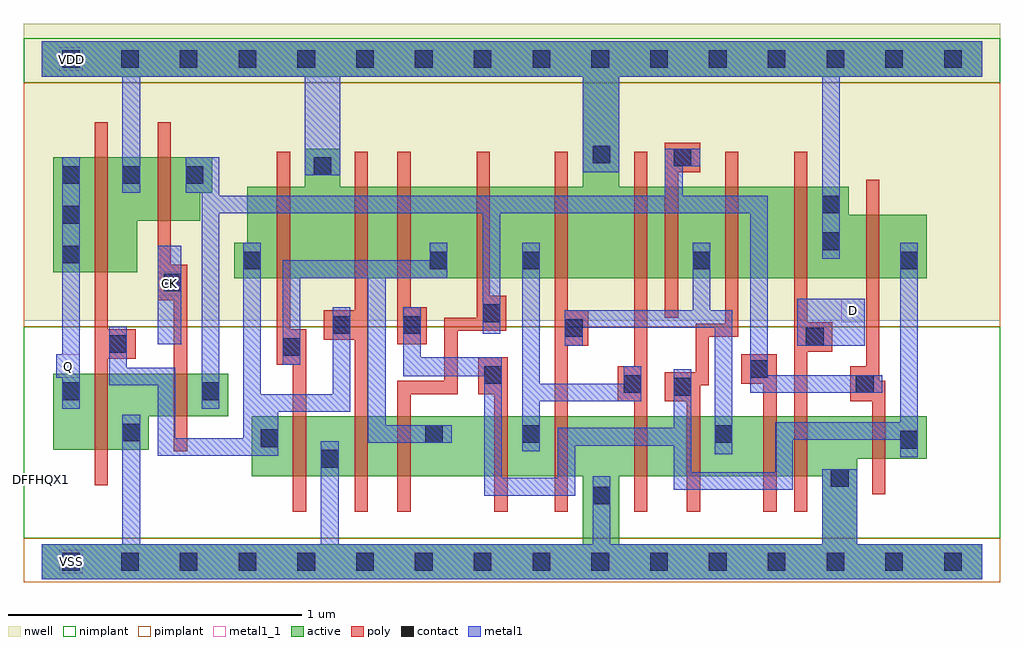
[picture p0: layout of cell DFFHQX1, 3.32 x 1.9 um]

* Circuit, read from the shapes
.subckt DFFHQX1 CK D Q VDD VSS
M1 VSS n1 Q VSS nfet w=0.26u l=0.045u
M2 n2 CK VSS VSS nfet w=0.145u l=0.045u
M3 VSS n3 n1 VSS nfet w=0.205u l=0.045u
M4 n4 n1 VSS VSS nfet w=0.205u l=0.045u
M5 n3 n2 n4 VSS nfet w=0.205u l=0.045u
M6 n5 n6 n3 VSS nfet w=0.205u l=0.045u
M7 VSS n7 n5 VSS nfet w=0.205u l=0.045u
M8 n8 n5 VSS VSS nfet w=0.205u l=0.045u
M9 n7 n6 n8 VSS nfet w=0.205u l=0.045u
M10 n9 n2 n7 VSS nfet w=0.205u l=0.045u
M11 VSS D n9 VSS nfet w=0.205u l=0.045u
M12 n6 n2 VSS VSS nfet w=0.145u l=0.045u
M13 VDD n1 Q VDD pfet w=0.39u l=0.045u
M14 n2 CK VDD VDD pfet w=0.215u l=0.045u
M15 VDD n3 n1 VDD pfet w=0.31u l=0.045u
M16 n10 n1 VDD VDD pfet w=0.31u l=0.045u
M17 n3 n6 n10 VDD pfet w=0.31u l=0.045u
M18 n5 n2 n3 VDD pfet w=0.31u l=0.045u
M19 VDD n7 n5 VDD pfet w=0.31u l=0.045u
M20 n11 n5 VDD VDD pfet w=0.31u l=0.045u
M21 n7 n2 n11 VDD pfet w=0.31u l=0.045u
M22 n12 n6 n7 VDD pfet w=0.31u l=0.045u
M23 VDD D n12 VDD pfet w=0.31u l=0.045u
M24 n6 n2 VDD VDD pfet w=0.215u l=0.045u
.ends

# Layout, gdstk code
import gdstk
lib = gdstk.Library(unit=1e-6, precision=5e-10)
def R(c, l, rs):  # rectangles x0, y0, x1, y1
    for r in rs: c.add(gdstk.rectangle(r[:2], r[2:], *l))
def A(c, l, x, y, w, h, nx, ny, dx, dy):  # array of equal rectangles
    R(c, l, [(x+i*dx, y+j*dy, x+i*dx+w, y+j*dy+h) for i in range(nx) for j in range(ny)])
def P(c, l, *ps):  # polygons
    for p in ps: c.add(gdstk.Polygon(p, *l))
active = (1, 0)
nwell = (2, 0)
poly = (3, 0)
nimplant = (4, 0)
pimplant = (5, 0)
contact = (6, 0)
metal1 = (7, 0)
metal1_1 = (7, 1)

dffhqx1 = lib.new_cell('DFFHQX1')
R(dffhqx1, active, [(0,-0.06,3.2,0.06), (0,1.65,3.2,1.77)])
P(dffhqx1, active, [(3.01,1.18),(2.745,1.18),(2.745,1.275),(1.965,1.275),(1.965,1.65),(1.84,1.65),(1.84,1.275),(1.015,1.275),(1.015,1.405),(0.895,1.405),(0.895,1.275),(0.7,1.275),(0.7,1.085),(0.655,1.085),(0.655,0.965),(3.01,0.965)],
  [(0.04,1.375),(0.58,1.375),(0.58,1.255),(0.54,1.255),(0.54,1.16),(0.325,1.16),(0.325,0.985),(0.04,0.985)],
  [(0.04,0.64),(0.635,0.64),(0.635,0.495),(0.365,0.495),(0.365,0.38),(0.04,0.38)],
  [(3.01,0.495),(0.715,0.495),(0.715,0.29),(1.84,0.29),(1.84,0.06),(1.965,0.06),(1.965,0.29),(2.655,0.29),(2.655,0.06),(2.775,0.06),(2.775,0.35),(3.01,0.35)])
R(dffhqx1, nwell, [(-0.06,0.82,3.26,1.83)])
P(dffhqx1, poly, [(0.18,1.495),(0.225,1.495),(0.225,0.79),(0.32,0.79),(0.32,0.69),(0.225,0.69),(0.225,0.26),(0.18,0.26)],
  [(0.395,1.495),(0.44,1.495),(0.44,1.01),(0.495,1.01),(0.495,0.375),(0.45,0.375),(0.45,0.89),(0.395,0.89)],
  [(0.8,1.395),(0.845,1.395),(0.845,0.79),(0.9,0.79),(0.9,0.17),(0.855,0.17),(0.855,0.67),(0.8,0.67)],
  [(1.065,1.395),(1.11,1.395),(1.11,0.17),(1.065,0.17),(1.065,0.755),(0.96,0.755),(0.96,0.855),(1.065,0.855)],
  [(1.21,1.395),(1.255,1.395),(1.255,0.865),(1.31,0.865),(1.31,0.74),(1.21,0.74)],
  [(1.48,1.395),(1.525,1.395),(1.525,0.905),(1.58,0.905),(1.58,0.785),(1.415,0.785),(1.415,0.57),(1.255,0.57),(1.255,0.17),(1.21,0.17),(1.21,0.615),(1.37,0.615),(1.37,0.83),(1.48,0.83)],
  [(1.745,1.395),(1.79,1.395),(1.79,0.855),(1.86,0.855),(1.86,0.735),(1.79,0.735),(1.79,0.17),(1.745,0.17)],
  [(2.12,1.425),(2.24,1.425),(2.24,1.325),(2.165,1.325),(2.165,0.83),(2.12,0.83)],
  [(2.015,1.395),(2.06,1.395),(2.06,0.17),(2.015,0.17),(2.015,0.545),(1.96,0.545),(1.96,0.665),(2.015,0.665)],
  [(2.325,1.395),(2.37,1.395),(2.37,0.765),(2.27,0.765),(2.27,0.6),(2.24,0.6),(2.24,0.17),(2.195,0.17),(2.195,0.545),(2.12,0.545),(2.12,0.645),(2.225,0.645),(2.225,0.81),(2.325,0.81)],
  [(2.56,1.395),(2.605,1.395),(2.605,0.815),(2.69,0.815),(2.69,0.715),(2.605,0.715),(2.605,0.17),(2.56,0.17)],
  [(2.805,1.3),(2.85,1.3),(2.85,0.615),(2.87,0.615),(2.87,0.23),(2.825,0.23),(2.825,0.545),(2.75,0.545),(2.75,0.665),(2.805,0.665)],
  [(1.485,0.695),(1.585,0.695),(1.585,0.17),(1.54,0.17),(1.54,0.57),(1.485,0.57)],
  [(2.38,0.705),(2.5,0.705),(2.5,0.17),(2.455,0.17),(2.455,0.605),(2.38,0.605)])
R(dffhqx1, nimplant, [(-0.06,0.08,3.26,0.8), (-0.06,1.63,3.26,1.78)])
R(dffhqx1, pimplant, [(-0.06,-0.07,3.26,0.08), (-0.06,0.8,3.26,1.63)])
A(dffhqx1, contact, 0.07, -0.03, 0.06, 0.06, 16, 2, 0.2, 1.71)
A(dffhqx1, contact, 0.07, 1.015, 0.06, 0.06, 1, 3, 0, 0.135)
R(dffhqx1, contact, [(1.875,0.195,1.935,0.255), (2.685,0.255,2.745,0.315), (0.95,0.32,1.01,0.38), (2.92,0.385,2.98,0.445), (0.745,0.39,0.805,0.45), (1.305,0.405,1.365,0.465), (1.635,0.405,1.695,0.465), (2.29,0.405,2.35,0.465), (0.275,0.41,0.335,0.47), (0.07,0.55,0.13,0.61), (0.545,0.55,0.605,0.61), (2.15,0.565,2.21,0.625), (1.98,0.575,2.04,0.635), (2.77,0.575,2.83,0.635), (1.505,0.605,1.565,0.665), (2.41,0.625,2.47,0.685), (0.82,0.7,0.88,0.76), (0.23,0.71,0.29,0.77), (2.6,0.735,2.66,0.795), (1.78,0.765,1.84,0.825), (0.99,0.775,1.05,0.835), (1.23,0.775,1.29,0.835), (1.5,0.815,1.56,0.875), (0.415,0.92,0.475,0.98), (0.685,0.995,0.745,1.055), (1.32,0.995,1.38,1.055), (1.635,0.995,1.695,1.055), (2.215,0.995,2.275,1.055), (2.92,0.995,2.98,1.055), (2.655,1.06,2.715,1.12), (2.655,1.185,2.715,1.245), (0.275,1.285,0.335,1.345), (0.49,1.285,0.55,1.345), (0.925,1.315,0.985,1.375), (2.15,1.345,2.21,1.405), (1.875,1.355,1.935,1.415)])
R(dffhqx1, metal1, [(2.57,0.735,2.8,0.895), (0.395,0.74,0.475,1.075)])
P(dffhqx1, metal1, [(3.2,1.77),(0,1.77),(0,1.65),(0.275,1.65),(0.275,1.255),(0.335,1.255),(0.335,1.65),(0.895,1.65),(0.895,1.315),(1.015,1.315),(1.015,1.65),(1.84,1.65),(1.84,1.325),(1.965,1.325),(1.965,1.65),(2.655,1.65),(2.655,1.03),(2.715,1.03),(2.715,1.65),(3.2,1.65)],
  [(2.98,1.085),(2.92,1.085),(2.92,0.475),(2.495,0.475),(2.495,0.305),(2.21,0.305),(2.21,0.655),(2.15,0.655),(2.15,0.455),(1.755,0.455),(1.755,0.285),(1.565,0.285),(1.565,0.695),(1.29,0.695),(1.29,0.865),(1.23,0.865),(1.23,0.63),(1.505,0.63),(1.505,0.225),(1.815,0.225),(1.815,0.395),(2.15,0.395),(2.15,0.245),(2.555,0.245),(2.555,0.415),(2.92,0.415),(2.92,0.355),(2.98,0.355)],
  [(2.86,0.635),(2.47,0.635),(2.47,1.245),(2.18,1.245),(2.18,1.345),(2.24,1.345),(2.24,1.405),(2.12,1.405),(2.12,1.245),(0.605,1.245),(0.605,1.375),(0.49,1.375),(0.49,1.255),(0.545,1.255),(0.545,0.52),(0.605,0.52),(0.605,1.185),(1.5,1.185),(1.5,0.775),(1.56,0.775),(1.56,1.185),(2.41,1.185),(2.41,0.575),(2.86,0.575)],
  [(2.35,0.855),(2.275,0.855),(2.275,1.085),(2.215,1.085),(2.215,0.855),(1.78,0.855),(1.78,0.735),(1.84,0.735),(1.84,0.795),(2.29,0.795),(2.29,0.365),(2.35,0.365)],
  [(2.04,0.665),(1.98,0.665),(1.98,0.605),(1.695,0.605),(1.695,1.085),(1.635,1.085),(1.635,0.375),(1.695,0.375),(1.695,0.545),(2.04,0.545)],
  [(1.395,0.465),(1.17,0.465),(1.17,0.965),(1.38,0.965),(1.38,1.085),(1.32,1.085),(1.32,1.025),(0.82,1.025),(0.82,0.67),(0.88,0.67),(0.88,0.965),(1.11,0.965),(1.11,0.405),(1.395,0.405)],
  [(3.2,0.06),(2.775,0.06),(2.775,0.315),(2.655,0.315),(2.655,0.06),(1.935,0.06),(1.935,0.29),(1.875,0.29),(1.875,0.06),(1.01,0.06),(1.01,0.41),(0.95,0.41),(0.95,0.06),(0.335,0.06),(0.335,0.5),(0.275,0.5),(0.275,0.06),(0,0.06),(0,-0.06),(3.2,-0.06)],
  [(1.05,0.865),(0.99,0.865),(0.99,0.57),(0.745,0.57),(0.745,1.085),(0.685,1.085),(0.685,0.42),(0.455,0.42),(0.455,0.66),(0.29,0.66),(0.29,0.8),(0.23,0.8),(0.23,0.6),(0.395,0.6),(0.395,0.36),(0.805,0.36),(0.805,0.51),(1.05,0.51)],
  [(0.13,1.375),(0.07,1.375),(0.07,0.705),(0.05,0.705),(0.05,0.625),(0.07,0.625),(0.07,0.52),(0.13,0.52)])
R(dffhqx1, metal1_1, [(0.06,-0.04,0.14,0.04), (0.05,0.625,0.13,0.705), (2.72,0.815,2.8,0.895), (0.395,0.905,0.475,0.985), (0.06,1.67,0.14,1.75)])
dffhqx1.add(gdstk.Label('VSS', (0.1,0), layer=7, texttype=1))
dffhqx1.add(gdstk.Label('Q', (0.09,0.665), layer=7, texttype=1))
dffhqx1.add(gdstk.Label('D', (2.76,0.855), layer=7, texttype=1))
dffhqx1.add(gdstk.Label('CK', (0.435,0.945), layer=7, texttype=1))
dffhqx1.add(gdstk.Label('VDD', (0.1,1.71), layer=7, texttype=1))
dffhqx1.add(gdstk.Label('DFFHQX1', (0,0.28), layer=63, texttype=0))

lib.write_gds('DFFHQX1.gds')
